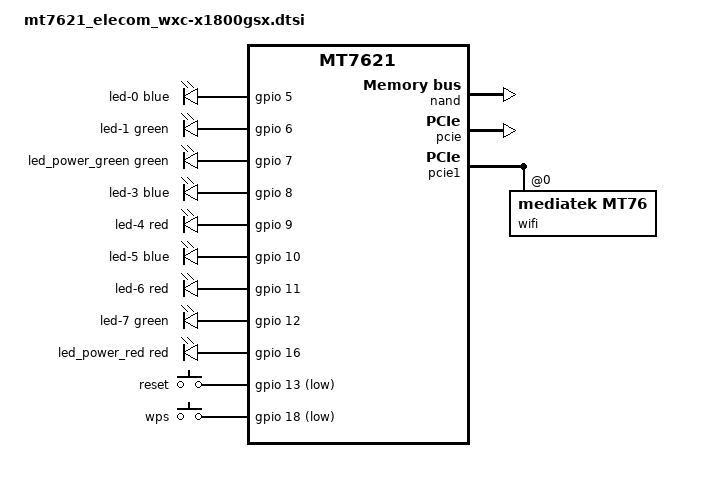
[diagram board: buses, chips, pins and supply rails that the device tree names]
// SPDX-License-Identifier: GPL-2.0-or-later OR MIT

#include "mt7621.dtsi"

#include <dt-bindings/gpio/gpio.h>
#include <dt-bindings/input/input.h>
#include <dt-bindings/leds/common.h>

/ {
	aliases {
		led-boot = &led_power_green;
		led-failsafe = &led_power_red;
		led-running = &led_power_green;
		led-upgrade = &led_power_green;
	};

	chosen {
		bootargs-override = "console=ttyS0,115200n8";
	};

	leds {
		compatible = "gpio-leds";

		led-0 {
			gpios = <&gpio 5 GPIO_ACTIVE_HIGH>;
			color = <LED_COLOR_ID_BLUE>;
			function = LED_FUNCTION_WLAN_5GHZ;
		};

		led-1 {
			gpios = <&gpio 6 GPIO_ACTIVE_HIGH>;
			color = <LED_COLOR_ID_GREEN>;
			function = LED_FUNCTION_WLAN_5GHZ;
			linux,default-trigger = "phy1tpt";
		};

		led_power_green: led-2 {
			gpios = <&gpio 7 GPIO_ACTIVE_HIGH>;
			color = <LED_COLOR_ID_GREEN>;
			function = LED_FUNCTION_POWER;
		};

		led-3 {
			gpios = <&gpio 8 GPIO_ACTIVE_HIGH>;
			color = <LED_COLOR_ID_BLUE>;
			function = LED_FUNCTION_POWER;
		};

		led-4 {
			gpios = <&gpio 9 GPIO_ACTIVE_HIGH>;
			color = <LED_COLOR_ID_RED>;
			function = LED_FUNCTION_WLAN_5GHZ;
		};

		led-5 {
			gpios = <&gpio 10 GPIO_ACTIVE_HIGH>;
			color = <LED_COLOR_ID_BLUE>;
			function = LED_FUNCTION_WLAN_2GHZ;
		};

		led-6 {
			gpios = <&gpio 11 GPIO_ACTIVE_HIGH>;
			color = <LED_COLOR_ID_RED>;
			function = LED_FUNCTION_WLAN_2GHZ;
		};

		led-7 {
			gpios = <&gpio 12 GPIO_ACTIVE_HIGH>;
			color = <LED_COLOR_ID_GREEN>;
			function = LED_FUNCTION_WLAN_2GHZ;
			linux,default-trigger = "phy0tpt";
		};

		led_power_red: led-8 {
			gpios = <&gpio 16 GPIO_ACTIVE_HIGH>;
			color = <LED_COLOR_ID_RED>;
			function = LED_FUNCTION_POWER;
		};
	};

	keys: keys {
		compatible = "gpio-keys";

		button-reset {
			label = "reset";
			gpios = <&gpio 13 GPIO_ACTIVE_LOW>;
			linux,code = <KEY_RESTART>;
		};

		button-wps {
			label = "wps";
			gpios = <&gpio 18 GPIO_ACTIVE_LOW>;
			linux,code = <KEY_WPS_BUTTON>;
		};
	};
};

&gmac0 {
	nvmem-cells = <&macaddr_factory_3fff4>;
	nvmem-cell-names = "mac-address";
};

&nand {
	status = "okay";
	pinctrl-0 = <&nand_pins>;
	pinctrl-names = "default";

	partitions {
		compatible = "fixed-partitions";
		#address-cells = <1>;
		#size-cells = <1>;

		partition@0 {
			label = "u-boot";
			reg = <0x0 0x80000>;
			read-only;
		};

		partition@80000 {
			label = "u-boot-env";
			reg = <0x80000 0x80000>;
			read-only;
		};

		partition@100000 {
			label = "factory";
			reg = <0x100000 0x80000>;
			read-only;

			nvmem-layout {
				compatible = "fixed-layout";
				#address-cells = <1>;
				#size-cells = <1>;

				eeprom_factory_0: eeprom@0 {
					reg = <0x0 0xe00>;
				};

				precal_factory_e10: precal@e10 {
					reg = <0xe10 0x19c10>;
				};

				macaddr_factory_4: mac-address@4 {
					compatible = "mac-base";
					reg = <0x4 0x6>;
					#nvmem-cell-cells = <1>;
				};

				macaddr_factory_3fff4: mac-address@3fff4 {
					reg = <0x3fff4 0x6>;
				};

				macaddr_factory_3fffa: mac-address@3fffa {
					reg = <0x3fffa 0x6>;
				};
			};
		};

		/* stock: "firmware" */
		partition@180000 {
			reg = <0x180000 0xf00000>;
			label = "kernel";
		};

		partition@1080000 {
			label = "user_data";
			reg = <0x1080000 0x500000>;
			read-only;
		};

		partition@1580000 {
			label = "tm_pattern";
			reg = <0x1580000 0x500000>;
			read-only;
		};

		partition@1a80000 {
			label = "tm_key";
			reg = <0x1a80000 0x100000>;
			read-only;
		};

		/* stock: (unused) */
		partition@1b80000 {
			label = "ubi";
			reg = <0x1b80000 0x6480000>;
		};
	};
};

&pcie {
	status = "okay";
};

&pcie1 {
	wifi: wifi@0,0 {
		compatible = "mediatek,mt76";
		reg = <0x0000 0 0 0 0>;
		nvmem-cells = <&eeprom_factory_0>, <&precal_factory_e10>;
		nvmem-cell-names = "eeprom", "precal";
		mediatek,disable-radar-background;
		#address-cells = <1>;
		#size-cells = <0>;
	};
};

&switch0 {
	ports {
		port@1 {
			status = "okay";
			label = "lan2";
		};

		port@2 {
			status = "okay";
			label = "lan1";
		};
	};
};

&state_default {
	gpio {
		groups = "i2c", "uart3", "uart2", "jtag", "wdt";
		function = "gpio";
	};
};

&uartlite {
	pinctrl-0 = <&uart1_pins>;
	pinctrl-names = "default";
};

&xhci {
	status = "disabled";
};
